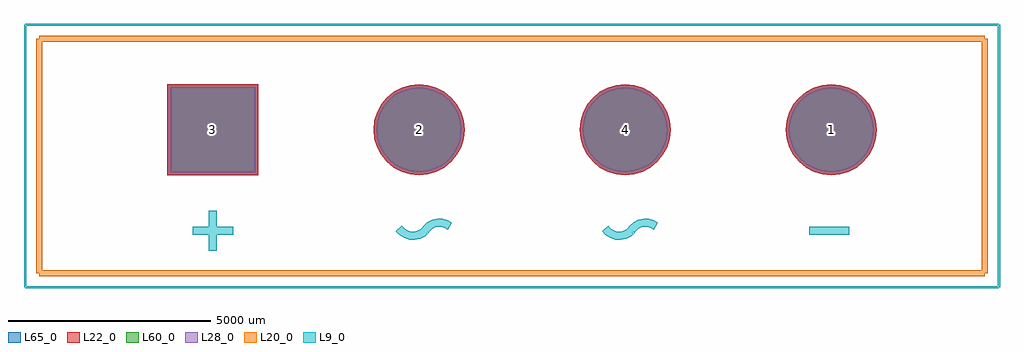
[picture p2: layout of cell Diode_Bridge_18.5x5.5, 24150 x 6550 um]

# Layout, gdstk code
import gdstk
lib = gdstk.Library(unit=1e-6, precision=1e-09)
def R(c, l, rs):  # rectangles x0, y0, x1, y1
    for r in rs: c.add(gdstk.rectangle(r[:2], r[2:], *l))
def P(c, l, *ps):  # polygons
    for p in ps: c.add(gdstk.Polygon(p, *l))
L9_0 = (9, 0)
L20_0 = (20, 0)
L22_0 = (22, 0)
L28_0 = (28, 0)
L60_0 = (60, 0)
L65_0 = (65, 0)

diode_bridge_18_5x5_5 = lib.new_cell('Diode_Bridge_18.5x5.5')
R(diode_bridge_18_5x5_5, L22_0, [(-1125,-1125,1125,1125)])
P(diode_bridge_18_5x5_5, L22_0, [(11325,0),(11303.383,219.477),(11239.364,430.519),(11135.403,625.017),(10995.495,795.495),(10825.017,935.403),(10630.519,1039.364),(10419.477,1103.383),(10200,1125),(9980.523,1103.383),(9769.481,1039.364),(9574.983,935.403),(9404.505,795.495),(9264.597,625.017),(9160.636,430.519),(9096.617,219.477),(9075,0),(9096.617,-219.477),(9160.636,-430.519),(9264.597,-625.017),(9404.505,-795.495),(9574.983,-935.403),(9769.481,-1039.364),(9980.523,-1103.383),(10200,-1125),(10419.477,-1103.383),(10630.519,-1039.364),(10825.017,-935.403),(10995.495,-795.495),(11135.403,-625.017),(11239.364,-430.519),(11303.383,-219.477)],
  [(16425,0),(16403.383,219.477),(16339.364,430.519),(16235.403,625.017),(16095.495,795.495),(15925.017,935.403),(15730.519,1039.364),(15519.477,1103.383),(15300,1125),(15080.523,1103.383),(14869.481,1039.364),(14674.983,935.403),(14504.505,795.495),(14364.597,625.017),(14260.636,430.519),(14196.617,219.477),(14175,0),(14196.617,-219.477),(14260.636,-430.519),(14364.597,-625.017),(14504.505,-795.495),(14674.983,-935.403),(14869.481,-1039.364),(15080.523,-1103.383),(15300,-1125),(15519.477,-1103.383),(15730.519,-1039.364),(15925.017,-935.403),(16095.495,-795.495),(16235.403,-625.017),(16339.364,-430.519),(16403.383,-219.477)],
  [(6225,0),(6203.383,219.477),(6139.364,430.519),(6035.403,625.017),(5895.495,795.495),(5725.017,935.403),(5530.519,1039.364),(5319.477,1103.383),(5100,1125),(4880.523,1103.383),(4669.481,1039.364),(4474.983,935.403),(4304.505,795.495),(4164.597,625.017),(4060.636,430.519),(3996.617,219.477),(3975,0),(3996.617,-219.477),(4060.636,-430.519),(4164.597,-625.017),(4304.505,-795.495),(4474.983,-935.403),(4669.481,-1039.364),(4880.523,-1103.383),(5100,-1125),(5319.477,-1103.383),(5530.519,-1039.364),(5725.017,-935.403),(5895.495,-795.495),(6035.403,-625.017),(6139.364,-430.519),(6203.383,-219.477)])
R(diode_bridge_18_5x5_5, L28_0, [(-1050,-1050,1050,1050)])
P(diode_bridge_18_5x5_5, L28_0, [(11250,0),(11229.825,204.845),(11170.074,401.818),(11073.043,583.349),(10942.462,742.462),(10783.349,873.043),(10601.818,970.074),(10404.845,1029.825),(10200,1050),(9995.155,1029.825),(9798.182,970.074),(9616.651,873.043),(9457.538,742.462),(9326.957,583.349),(9229.926,401.818),(9170.175,204.845),(9150,0),(9170.175,-204.845),(9229.926,-401.818),(9326.957,-583.349),(9457.538,-742.462),(9616.651,-873.043),(9798.182,-970.074),(9995.155,-1029.825),(10200,-1050),(10404.845,-1029.825),(10601.818,-970.074),(10783.349,-873.043),(10942.462,-742.462),(11073.043,-583.349),(11170.074,-401.818),(11229.825,-204.845)],
  [(16350,0),(16329.825,204.845),(16270.074,401.818),(16173.043,583.349),(16042.462,742.462),(15883.349,873.043),(15701.818,970.074),(15504.845,1029.825),(15300,1050),(15095.155,1029.825),(14898.182,970.074),(14716.651,873.043),(14557.538,742.462),(14426.957,583.349),(14329.926,401.818),(14270.175,204.845),(14250,0),(14270.175,-204.845),(14329.926,-401.818),(14426.957,-583.349),(14557.538,-742.462),(14716.651,-873.043),(14898.182,-970.074),(15095.155,-1029.825),(15300,-1050),(15504.845,-1029.825),(15701.818,-970.074),(15883.349,-873.043),(16042.462,-742.462),(16173.043,-583.349),(16270.074,-401.818),(16329.825,-204.845)],
  [(6150,0),(6129.825,204.845),(6070.074,401.818),(5973.043,583.349),(5842.462,742.462),(5683.349,873.043),(5501.818,970.074),(5304.845,1029.825),(5100,1050),(4895.155,1029.825),(4698.182,970.074),(4516.651,873.043),(4357.538,742.462),(4226.957,583.349),(4129.926,401.818),(4070.175,204.845),(4050,0),(4070.175,-204.845),(4129.926,-401.818),(4226.957,-583.349),(4357.538,-742.462),(4516.651,-873.043),(4698.182,-970.074),(4895.155,-1029.825),(5100,-1050),(5304.845,-1029.825),(5501.818,-970.074),(5683.349,-873.043),(5842.462,-742.462),(5973.043,-583.349),(6070.074,-401.818),(6129.825,-204.845)])
R(diode_bridge_18_5x5_5, L60_0, [(-1050,-1050,1050,1050)])
P(diode_bridge_18_5x5_5, L60_0, [(11250,0),(11229.825,204.845),(11170.074,401.818),(11073.043,583.349),(10942.462,742.462),(10783.349,873.043),(10601.818,970.074),(10404.845,1029.825),(10200,1050),(9995.155,1029.825),(9798.182,970.074),(9616.651,873.043),(9457.538,742.462),(9326.957,583.349),(9229.926,401.818),(9170.175,204.845),(9150,0),(9170.175,-204.845),(9229.926,-401.818),(9326.957,-583.349),(9457.538,-742.462),(9616.651,-873.043),(9798.182,-970.074),(9995.155,-1029.825),(10200,-1050),(10404.845,-1029.825),(10601.818,-970.074),(10783.349,-873.043),(10942.462,-742.462),(11073.043,-583.349),(11170.074,-401.818),(11229.825,-204.845)],
  [(16350,0),(16329.825,204.845),(16270.074,401.818),(16173.043,583.349),(16042.462,742.462),(15883.349,873.043),(15701.818,970.074),(15504.845,1029.825),(15300,1050),(15095.155,1029.825),(14898.182,970.074),(14716.651,873.043),(14557.538,742.462),(14426.957,583.349),(14329.926,401.818),(14270.175,204.845),(14250,0),(14270.175,-204.845),(14329.926,-401.818),(14426.957,-583.349),(14557.538,-742.462),(14716.651,-873.043),(14898.182,-970.074),(15095.155,-1029.825),(15300,-1050),(15504.845,-1029.825),(15701.818,-970.074),(15883.349,-873.043),(16042.462,-742.462),(16173.043,-583.349),(16270.074,-401.818),(16329.825,-204.845)],
  [(6150,0),(6129.825,204.845),(6070.074,401.818),(5973.043,583.349),(5842.462,742.462),(5683.349,873.043),(5501.818,970.074),(5304.845,1029.825),(5100,1050),(4895.155,1029.825),(4698.182,970.074),(4516.651,873.043),(4357.538,742.462),(4226.957,583.349),(4129.926,401.818),(4070.175,204.845),(4050,0),(4070.175,-204.845),(4129.926,-401.818),(4226.957,-583.349),(4357.538,-742.462),(4516.651,-873.043),(4698.182,-970.074),(4895.155,-1029.825),(5100,-1050),(5304.845,-1029.825),(5501.818,-970.074),(5683.349,-873.043),(5842.462,-742.462),(5973.043,-583.349),(6070.074,-401.818),(6129.825,-204.845)])
R(diode_bridge_18_5x5_5, L65_0, [(-1125,-1125,1125,1125)])
P(diode_bridge_18_5x5_5, L65_0, [(11325,0),(11303.383,219.477),(11239.364,430.519),(11135.403,625.017),(10995.495,795.495),(10825.017,935.403),(10630.519,1039.364),(10419.477,1103.383),(10200,1125),(9980.523,1103.383),(9769.481,1039.364),(9574.983,935.403),(9404.505,795.495),(9264.597,625.017),(9160.636,430.519),(9096.617,219.477),(9075,0),(9096.617,-219.477),(9160.636,-430.519),(9264.597,-625.017),(9404.505,-795.495),(9574.983,-935.403),(9769.481,-1039.364),(9980.523,-1103.383),(10200,-1125),(10419.477,-1103.383),(10630.519,-1039.364),(10825.017,-935.403),(10995.495,-795.495),(11135.403,-625.017),(11239.364,-430.519),(11303.383,-219.477)],
  [(16425,0),(16403.383,219.477),(16339.364,430.519),(16235.403,625.017),(16095.495,795.495),(15925.017,935.403),(15730.519,1039.364),(15519.477,1103.383),(15300,1125),(15080.523,1103.383),(14869.481,1039.364),(14674.983,935.403),(14504.505,795.495),(14364.597,625.017),(14260.636,430.519),(14196.617,219.477),(14175,0),(14196.617,-219.477),(14260.636,-430.519),(14364.597,-625.017),(14504.505,-795.495),(14674.983,-935.403),(14869.481,-1039.364),(15080.523,-1103.383),(15300,-1125),(15519.477,-1103.383),(15730.519,-1039.364),(15925.017,-935.403),(16095.495,-795.495),(16235.403,-625.017),(16339.364,-430.519),(16403.383,-219.477)],
  [(6225,0),(6203.383,219.477),(6139.364,430.519),(6035.403,625.017),(5895.495,795.495),(5725.017,935.403),(5530.519,1039.364),(5319.477,1103.383),(5100,1125),(4880.523,1103.383),(4669.481,1039.364),(4474.983,935.403),(4304.505,795.495),(4164.597,625.017),(4060.636,430.519),(3996.617,219.477),(3975,0),(3996.617,-219.477),(4060.636,-430.519),(4164.597,-625.017),(4304.505,-795.495),(4474.983,-935.403),(4669.481,-1039.364),(4880.523,-1103.383),(5100,-1125),(5319.477,-1103.383),(5530.519,-1039.364),(5725.017,-935.403),(5895.495,-795.495),(6035.403,-625.017),(6139.364,-430.519),(6203.383,-219.477)])
diode_bridge_18_5x5_5.add(gdstk.FlexPath([(-4300,-3550),(-4300,2250)], 149.998, ends="flush", simple_path=True, layer=20, datatype=0))  # L20_0
diode_bridge_18_5x5_5.add(gdstk.FlexPath([(19100,-3550),(-4300,-3550)], 149.998, ends="flush", simple_path=True, layer=20, datatype=0))  # L20_0
diode_bridge_18_5x5_5.add(gdstk.FlexPath([(19100,2250),(19100,-3550)], 149.998, ends="flush", simple_path=True, layer=20, datatype=0))  # L20_0
diode_bridge_18_5x5_5.add(gdstk.FlexPath([(-4300,2250),(19100,2250)], 149.998, ends="flush", simple_path=True, layer=20, datatype=0))  # L20_0
diode_bridge_18_5x5_5.add(gdstk.FlexPath([(-4650,2600),(19450,2600)], 50, ends="flush", simple_path=True, layer=9, datatype=0))  # L9_0
diode_bridge_18_5x5_5.add(gdstk.FlexPath([(-4650,-3900),(-4650,2600)], 50, ends="flush", simple_path=True, layer=9, datatype=0))  # L9_0
diode_bridge_18_5x5_5.add(gdstk.FlexPath([(19450,-3900),(-4650,-3900)], 50, ends="flush", simple_path=True, layer=9, datatype=0))  # L9_0
diode_bridge_18_5x5_5.add(gdstk.FlexPath([(19450,2600),(19450,-3900)], 50, ends="flush", simple_path=True, layer=9, datatype=0))  # L9_0
diode_bridge_18_5x5_5.add(gdstk.FlexPath([(0,-2000),(0,-3000)], 200, ends="flush", simple_path=True, layer=9, datatype=0))  # L9_0
diode_bridge_18_5x5_5.add(gdstk.FlexPath([(-500,-2500),(500,-2500)], 200, ends="flush", simple_path=True, layer=9, datatype=0))  # L9_0
diode_bridge_18_5x5_5.add(gdstk.FlexPath([(14750,-2500),(15750,-2500)], 200, ends="flush", simple_path=True, layer=9, datatype=0))  # L9_0
diode_bridge_18_5x5_5.add(gdstk.FlexPath([(4602.464,-2443.347),(4677.289,-2525.004),(4770.698,-2584.513),(4876.327,-2617.818),(4986.977,-2622.649),(5095.107,-2598.678),(5193.348,-2547.537),(5250,-2500)], 200, ends="flush", simple_path=True, layer=9, datatype=0))  # L9_0
diode_bridge_18_5x5_5.add(gdstk.FlexPath([(5857.738,-2390.047),(5768.734,-2333.901),(5668.231,-2302.704),(5563.078,-2298.582),(5460.442,-2321.816),(5367.316,-2370.822),(5290.047,-2442.262),(5250,-2500)], 200, ends="flush", simple_path=True, layer=9, datatype=0))  # L9_0
diode_bridge_18_5x5_5.add(gdstk.FlexPath([(10957.738,-2390.047),(10868.734,-2333.901),(10768.231,-2302.704),(10663.078,-2298.582),(10560.442,-2321.816),(10467.316,-2370.822),(10390.047,-2442.262),(10350,-2500)], 200, ends="flush", simple_path=True, layer=9, datatype=0))  # L9_0
diode_bridge_18_5x5_5.add(gdstk.FlexPath([(9702.464,-2443.347),(9777.289,-2525.004),(9870.698,-2584.513),(9976.327,-2617.818),(10086.977,-2622.649),(10195.107,-2598.678),(10293.348,-2547.537),(10350,-2500)], 200, ends="flush", simple_path=True, layer=9, datatype=0))  # L9_0
diode_bridge_18_5x5_5.add(gdstk.Label('4', (10200,0), layer=28, texttype=0))
diode_bridge_18_5x5_5.add(gdstk.Label('1', (15300,0), layer=28, texttype=0))
diode_bridge_18_5x5_5.add(gdstk.Label('2', (5100,0), layer=28, texttype=0))
diode_bridge_18_5x5_5.add(gdstk.Label('3', (0,0), layer=28, texttype=0))
diode_bridge_18_5x5_5.add(gdstk.Label('type', (4100,-4800), layer=9, texttype=0))
diode_bridge_18_5x5_5.add(gdstk.Label('devicename', (-2100,3300), layer=9, texttype=0))

lib.write_gds('Diode_Bridge_18.5x5.5.gds')
